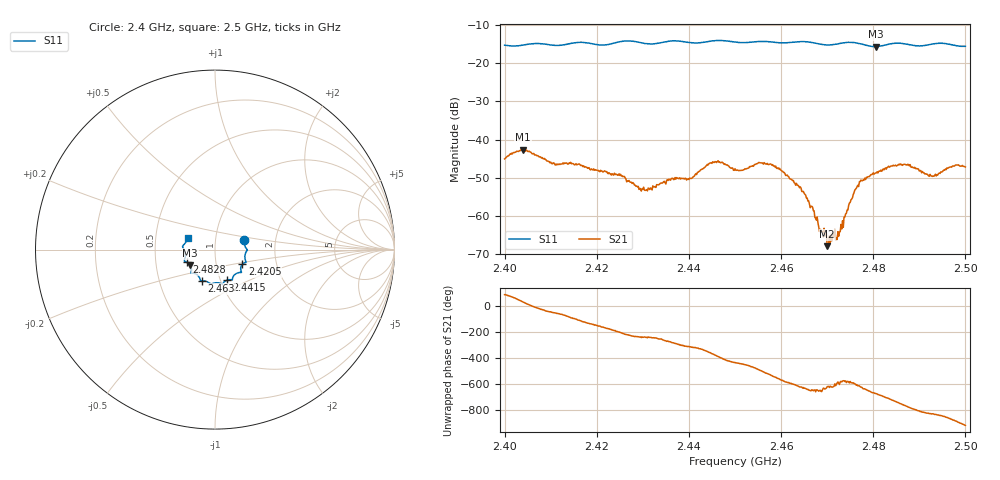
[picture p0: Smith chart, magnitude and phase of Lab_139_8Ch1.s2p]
# Hz S RI R 50
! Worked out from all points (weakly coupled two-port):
!   601 points, 2.4 GHz to 2.5 GHz, reference 50 ohm
!   highest |S21| = -42.60 dB at 2.404 GHz (marker M1); lowest = -67.9 dB at 2.47 GHz (marker M2)
!   lowest |S11| = -15.7 dB at 2.4805 GHz (marker M3), VSWR 1.39, Z = 37.3 - j6.69 ohm
!   |S11| at or under -10 dB: start of sweep to end of sweep
!   S12 and S22 are empty: the file has one direction only
!   S11 on the Smith chart (normalised r, x): 2.4 GHz: 1.38, +0.15; 2.4205 GHz: 1.34, -0.22; 2.4415 GHz: 1.07, -0.38; 2.463 GHz: 0.82, -0.29; 2.4828 GHz: 0.72, -0.10; 2.5 GHz: 0.73, +0.10
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2.4e9  0.1634 0.0518  0.000335 0.00558  0 0  0 0
2.404e9  0.1713 0.0102  0.00643 0.00369  0 0  0 0
2.410833e9  0.1685 -0.024  0.00287 -0.00386  0 0  0 0
2.416667e9  0.173 -0.07  -0.00212 -0.0041  0 0  0 0
2.4205e9  0.1521 -0.0816  -0.00351 -0.00158  0 0  0 0
2.4295e9  0.1332 -0.1282  -0.00114 0.00197  0 0  0 0
2.433333e9  0.1003 -0.1516  -0.000686 0.00247  0 0  0 0
2.4415e9  0.0656 -0.1707  0.00287 0.00215  0 0  0 0
2.445833e9  0.0414 -0.1924  0.00476 -0.0019  0 0  0 0
2.45e9  0.0242 -0.1863  0.000969 -0.00405  0 0  0 0
2.4575e9  -0.0287 -0.1875  -0.0047 -0.000857  0 0  0 0
2.463e9  -0.0721 -0.1738  -0.000996 0.0025  0 0  0 0
2.466667e9  -0.0821 -0.167  0.000401 0.00128  0 0  0 0
2.47e9  -0.0989 -0.1411  -4.51e-05 0.000402  0 0  0 0
2.472333e9  -0.1214 -0.1306  -0.000428 0.000458  0 0  0 0
2.477e9  -0.132 -0.1226  -0.000599 0.00274  0 0  0 0
2.4805e9  -0.1389 -0.0873  0.00263 0.00255  0 0  0 0
2.482833e9  -0.1585 -0.07  0.00403 0.000782  0 0  0 0
2.483333e9  -0.1624 -0.0681  0.00447 0.000479  0 0  0 0
2.4875e9  -0.1677 -0.0515  0.00243 -0.0041  0 0  0 0
2.492667e9  -0.1764 0.00728  -0.00138 -0.00304  0 0  0 0
2.5e9  -0.1527 0.0644  -0.00405 0.0017  0 0  0 0
